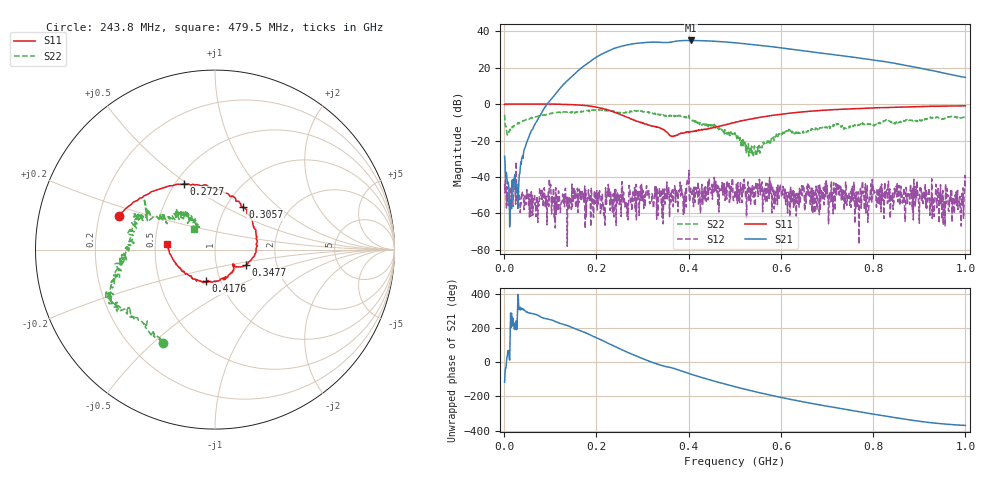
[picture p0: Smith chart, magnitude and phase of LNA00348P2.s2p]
! Created with skrf 1.9.0 (http://scikit-rf.org).
# Hz S RI R 50.0
!freq ReS11 ImS11 ReS21 ImS21 ReS12 ImS12 ReS22 ImS22
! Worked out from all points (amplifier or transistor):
!   1001 points, 1 MHz to 1 GHz, reference 50 ohm
!   highest |S21| = 34.9 dB at 404.6 MHz (marker M1)
!   |S21| within 3 dB of that: 257.1 MHz to 565.8 MHz (308.6 MHz wide, 75 % of centre)
!   unconditionally stable (mu >= 1): start of sweep to 74.62 MHz; 285.8 MHz to 400 MHz; 400.9 MHz to end of sweep (the widest 3 of 28)
!   at 166.8 MHz: K = 1.63, MAG = 29.9 dB, |S12| = -49.4 dB
!   at 500.5 MHz: K = 2.28, MAG = 34.2 dB, |S12| = -47.4 dB
!   at 1 GHz: K = 2.74, MAG = 23.0 dB, |S12| = -45.7 dB
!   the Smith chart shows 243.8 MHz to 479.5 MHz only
!   S11 on the Smith chart (normalised r, x): 243.8 MHz: 0.28, +0.16; 272.7 MHz: 0.55, +0.49; 305.7 MHz: 1.19, +0.62; 347.7 MHz: 1.39, -0.25; 417.6 MHz: 0.85, -0.31; 479.5 MHz: 0.58, +0.04
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1000000  0.9688 -0.00819  -0.0165 -0.0331  -0.0047 0.00408  0.4028 0.3102
1.07893e8  0.5144 -0.8529  -0.7817 -1.483  -0.00091 0.00294  0.4289 -0.3779
1.67833e8  -0.2612 -0.8929  -9.958 -0.3476  0.000277 0.00238  0.0448 -0.6368
2.09791e8  -0.6913 -0.3576  -15.17 17.1  0.000569 0.00156  -0.1941 -0.6612
2.43757e8  -0.5371 0.1893  1.49 35.29  -0.000274 0.00318  -0.2913 -0.5207
2.72728e8  -0.1715 0.3667  26.56 34.8  0.00282 0.00358  -0.5436 -0.3455
3.05695e8  0.1538 0.2382  46.86 13.03  -0.00148 -0.000297  -0.5621 -0.1987
3.34666e8  0.2287 -0.00649  48.56 -11.27  0.000615 0.00298  -0.508 -0.068
3.47653e8  0.1713 -0.0873  44.74 -19.45  -0.00144 0.00444  -0.4799 0.00553
3.75625e8  0.1019 -0.0971  39.46 -36.86  0.00396 0.0014  -0.424 0.1924
4.04596e8  0.0169 -0.1745  19.67 -52.15  0.00285 0.00404  -0.3151 0.171
4.17583e8  -0.0484 -0.1769  9.497 -54.35  0.00326 0.00176  -0.2557 0.172
4.45555e8  -0.1739 -0.1214  -11.57 -52.42  0.00451 0.000225  -0.1692 0.2016
4.79521e8  -0.2653 0.0309  -31.22 -39.97  0.000432 -0.00259  -0.1189 0.1153
5.005e8  -0.2725 0.1465  -38.57 -29.08  -0.000853 -0.0042  -0.1044 0.124
5.4046e8  -0.1923 0.3509  -41.98 -7.811  0.00157 -0.00307  -0.0331 0.0193
5.87413e8  0.0195 0.5001  -34.84 11.64  0.00045 -0.00177  -0.1199 -0.0455
6.67333e8  0.4018 0.4992  -12.93 23.54  -0.000397 -0.00102  -0.2006 -0.038
7.53247e8  0.6828 0.2864  3.954 19.14  -0.00021 -0.00475  -0.2313 -0.0065
8.34166e8  0.8042 0.0201  10.4 9.405  -0.0029 -0.00258  -0.3475 -0.0204
9.13087e8  0.8192 -0.2563  8.887 1.607  -0.00615 0.00196  -0.3686 0.1331
1e9  0.7337 -0.52  5.332 -0.8669  -0.00507 -0.000956  -0.3228 0.278
